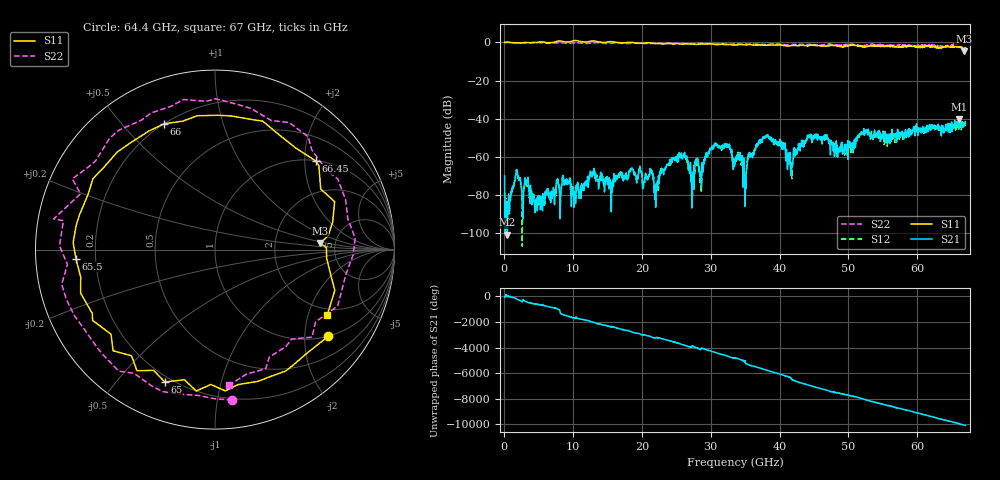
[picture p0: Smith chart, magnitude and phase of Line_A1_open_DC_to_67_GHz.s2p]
#  HZ  S  MA  R  50.00
! Rohde & Schwarz ZVA67 4Ports - Version 4.11 - 1305.7002k04 SN: 101051
! Date: 2023-05-31 11:51:04
! Measurements: S11 S21 S12 S22
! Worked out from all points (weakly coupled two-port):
!   1340 points, 50 MHz to 67 GHz, reference 50 ohm
!   highest |S21| = -40.29 dB at 66.1 GHz (marker M1); lowest = -101.1 dB at 450 MHz (marker M2)
!   lowest |S11| = -4.6 dB at 66.75 GHz (marker M3), VSWR 3.84, Z = 189 + j21.2 ohm
!   |S11| at or under -10 dB: nowhere
!   |S22| runs from -3.7 to 0.1 dB; largest |S21 - S12| = 0.0041
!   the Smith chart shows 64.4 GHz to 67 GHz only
!   S11 on the Smith chart (normalised r, x): 64.4 GHz: 0.99, -2.62; 65 GHz: 0.17, -0.68; 65.5 GHz: 0.13, -0.03; 66 GHz: 0.20, +0.65; 66.45 GHz: 1.01, +2.26; 67 GHz: 1.74, -2.67
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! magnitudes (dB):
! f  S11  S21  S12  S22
! 50 MHz  0.1  -70.1  -79.0  0.0
! 450 MHz  0.1  -101.1  -87.9  0.1
! 1.95 GHz  -0.2  -69.9  -69.3  -0.1
! 11.25 GHz  0.4  -75.1  -74.1  -0.4
! 22.4 GHz  -0.6  -70.0  -77.6  -0.4
! 25.5 GHz  -0.8  -60.2  -58.6  -0.4
! 28.6 GHz  -0.8  -73.1  -77.8  -0.5
! 30.75 GHz  -1.1  -54.2  -53.7  -0.8
! 33.55 GHz  -1.4  -63.7  -62.9  -0.8
! 34.95 GHz  -1.2  -74.5  -69.4  -0.8
! 38.15 GHz  -1.5  -49.5  -48.5  -1.0
! 41.7 GHz  -1.6  -69.9  -65.3  -1.0
! 44.7 GHz  -1.5  -52.6  -49.7  -1.0
! 55.85 GHz  -2.0  -52.5  -50.3  -1.6
! 64.4 GHz  -2.0  -45.0  -45.4  -1.5
! 65 GHz  -2.1  -41.7  -44.4  -1.2
! 65.5 GHz  -2.2  -42.3  -43.3  -1.4
! 66 GHz  -2.4  -43.3  -40.3  -2.1
! 66.1 GHz  -2.5  -40.3  -42.4  -1.8
! 66.45 GHz  -2.5  -42.2  -41.8  -2.3
! 66.75 GHz  -4.6  -42.3  -44.3  -3.7
! 67 GHz  -2.8  -41.6  -43.7  -2.4
